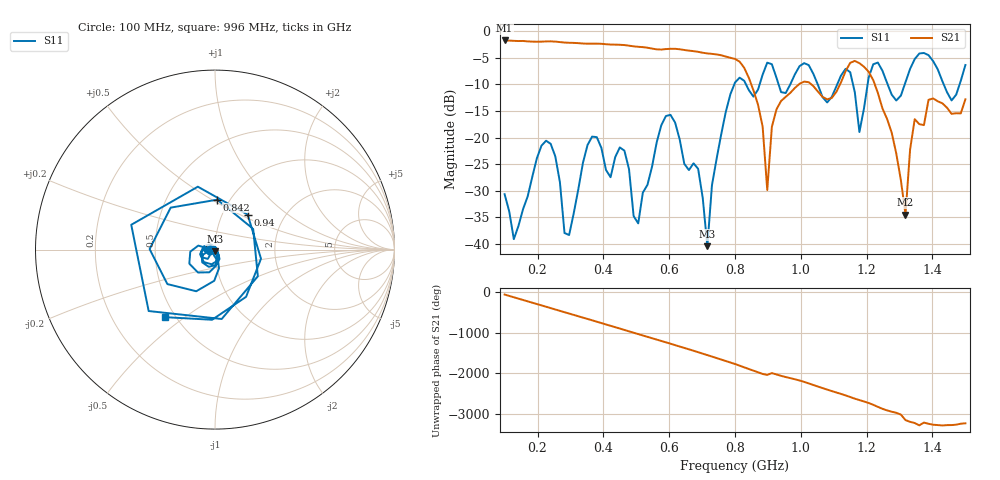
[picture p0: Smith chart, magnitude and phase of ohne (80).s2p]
! NanoVNA-App
! Date: 2025-09-25 14:21:25
! Start: 100MHz Stop: 1,5GHz Points: 101
! S-Parameter data: F S11 S21 S12 S22
# Hz S RI R 50
!  Frequency  S11_Real  S11_Imag  S21_Real  S21_Imag  S12_Real  S12_Imag  S22_Real  S22_Imag
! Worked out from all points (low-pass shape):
!   101 points, 100 MHz to 1.5 GHz, reference 50 ohm
!   highest |S21| = -1.79 dB at 100 MHz (marker M1); lowest = -34.5 dB at 1.318 GHz (marker M2)
!   |S21| within 3 dB of the highest: start of sweep to 770.9 MHz
!   lowest |S11| = -40.4 dB at 716 MHz (marker M3), VSWR 1.02, Z = 49.9 - j0.947 ohm
!   |S11| at or under -10 dB: start of sweep to 798 MHz; 833.1 MHz to 875.1 MHz (41.97 MHz wide, 4.91 % of centre); 1.051 GHz to 1.111 GHz (59.62 MHz wide, 5.51 % of centre) (the widest 3 of 7)
!   S12 and S22 are empty: the file has one direction only
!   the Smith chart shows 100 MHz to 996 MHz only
!   S11 on the Smith chart (normalised r, x): 100 MHz: 0.94, -0.01; 842 MHz: 0.88, +0.53; 940 MHz: 1.31, +0.55; 996 MHz: 0.44, -0.43
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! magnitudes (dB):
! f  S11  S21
! 100 MHz  -30.6  -1.8
! 128 MHz  -39.1  -1.9
! 226 MHz  -20.6  -2.0
! 296 MHz  -38.3  -2.2
! 338 MHz  -24.8  -2.4
! 464 MHz  -22.5  -2.7
! 506 MHz  -36.1  -3.0
! 576 MHz  -17.7  -3.5
! 688 MHz  -25.9  -3.9
! 716 MHz  -40.4  -4.2
! 800 MHz  -9.7  -5.3
! 842 MHz  -11.1  -8.8
! 898 MHz  -6.0  -29.9
! 940 MHz  -11.5  -13.1
! 996 MHz  -6.6  -9.9
! 1.038 GHz  -8.1  -10.3
! 1.178 GHz  -19.0  -6.1
! 1.22 GHz  -6.3  -9.2
! 1.276 GHz  -11.9  -19.1
! 1.318 GHz  -9.6  -34.5
! 1.346 GHz  -5.3  -16.6
! 1.5 GHz  -6.4  -12.8
